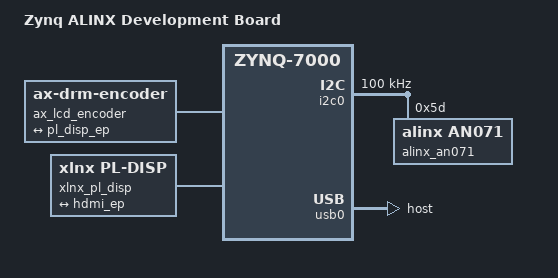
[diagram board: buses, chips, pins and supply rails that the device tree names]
/include/ "system-conf.dtsi"

/ {
	model = "Zynq ALINX Development Board";
	compatible = "alinx,zynq", "xlnx,zynq-7000";

};

&i2c0 {
	clock-frequency = <100000>;
	alinx_an071@5D {  				
		compatible = "alinx,an071"; 
 		reg = <0x5D>;  
		interrupt-parent = <&intc>;
 		interrupts = <0 29 4>;
	}; 
};


&usb0 {
	dr_mode = "host";	

};

&amba_pl {

	ax_lcd_encoder {
		compatible = "ax-drm-encoder";

		clocks = <&axi_dynclk_0>;
		clock-names = "clk";


		
		port@0 {
			#address-cells = <1>;
			#size-cells = <0>;
			reg = <0>;
			hdmi_ep: endpoint {
				remote-endpoint = <&pl_disp_ep>;
			};
		};
	};
	
	xlnx_pl_disp {
		compatible = "xlnx,pl-disp";
		dmas = <&axi_vdma_0 0>;
		dma-names = "dma0";

		xlnx,vformat = "AR24";
		xlnx,bridge = <&v_tc_0>;

		port@0 {
			reg = <0>;
			pl_disp_ep: endpoint {
				remote-endpoint = <&hdmi_ep>;
			};
		};
	};


	
};
&axi_dynclk_0 {
	compatible = "dglnt,axi-dynclk";
	#clock-cells = <0>;
	clocks = <&clkc 15>;
};
&v_tc_0 {
	compatible = "xlnx,bridge-v-tc-6.1";
	xlnx,pixels-per-clock = <1>;
};


